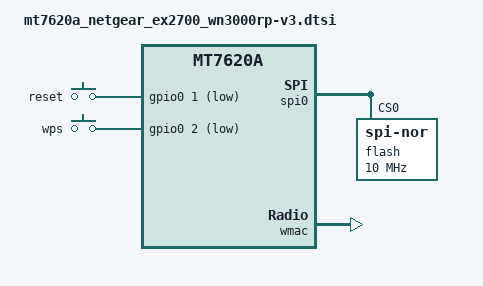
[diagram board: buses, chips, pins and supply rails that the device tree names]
#include "mt7620a.dtsi"

#include <dt-bindings/gpio/gpio.h>
#include <dt-bindings/input/input.h>

/ {
	keys {
		compatible = "gpio-keys";

		reset {
			label = "reset";
			gpios = <&gpio0 1 GPIO_ACTIVE_LOW>;
			linux,code = <KEY_RESTART>;
		};

		wps {
			label = "wps";
			gpios = <&gpio0 2 GPIO_ACTIVE_LOW>;
			linux,code = <KEY_WPS_BUTTON>;
		};
	};
};

&gpio1 {
	status = "okay";
};

&spi0 {
	status = "okay";

	flash@0 {
		compatible = "jedec,spi-nor";
		reg = <0>;
		spi-max-frequency = <10000000>;

		partitions: partitions {
			compatible = "fixed-partitions";
			#address-cells = <1>;
			#size-cells = <1>;
		};
	};
};

&ethernet {
	nvmem-cells = <&macaddr_art_0>;
	nvmem-cell-names = "mac-address";
};

&wmac {
	ralink,mtd-eeprom = <&art 0x1000>;
	nvmem-cells = <&macaddr_art_6>;
	nvmem-cell-names = "mac-address";
};

&state_default {
	default {
		groups = "i2c", "uartf", "spi refclk";
		function = "gpio";
	};
};

&art {
	compatible = "nvmem-cells";
	#address-cells = <1>;
	#size-cells = <1>;

	macaddr_art_0: macaddr@0 {
		reg = <0x0 0x6>;
	};

	macaddr_art_6: macaddr@6 {
		reg = <0x6 0x6>;
	};
};
